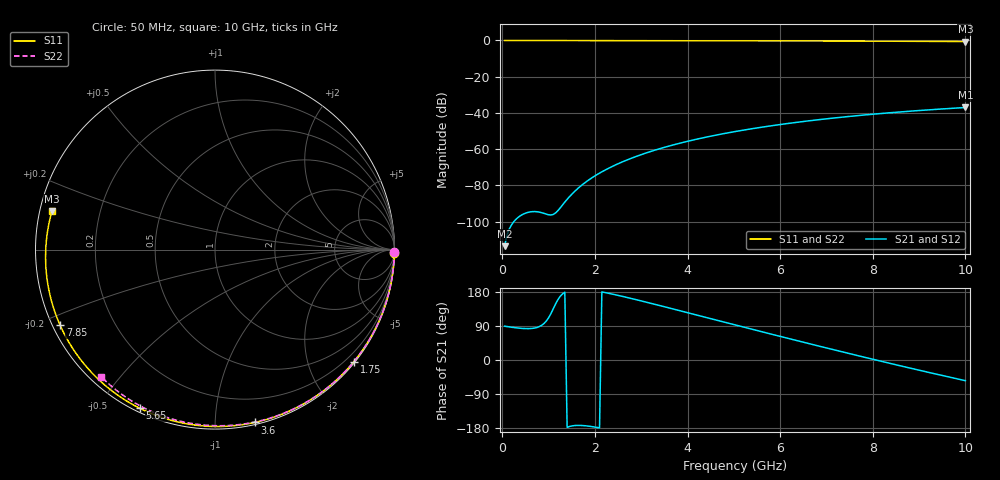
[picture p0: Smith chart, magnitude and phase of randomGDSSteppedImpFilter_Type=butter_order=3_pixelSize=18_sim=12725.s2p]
! freq	dB(S11)	phase(S11)	dB(S12)	phase(S12)
!  dB(S21)	phase(S21)	dB(S22)	phase(S22)
!S-par simulation data
#  GHz  S  DB  R 50
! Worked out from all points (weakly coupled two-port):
!   200 points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, 50 MHz to 10 GHz, reference 50 ohm
!   highest |S21| = -37.00 dB at 10 GHz (marker M1); lowest = -113.5 dB at 50 MHz (marker M2)
!   lowest |S11| = -0.6 dB at 10 GHz (marker M3), VSWR 28.97, Z = 1.75 + j5.79 ohm
!   |S11| at or under -10 dB: nowhere
!   |S22| runs from -0.4 to 0.0 dB; largest |S21 - S12| = 0
!   S11 on the Smith chart (normalised r, x): 50 MHz: open; 1.75 GHz: 0.03, -2.84; 3.6 GHz: 0.02, -1.26; 5.65 GHz: 0.02, -0.63; 7.85 GHz: 0.02, -0.23; 10 GHz: 0.03, +0.12
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0.05  -0.00 -1.1  -113.54 89.2  -113.54 89.2  -0.00 -0.8
0.45  -0.01 -10.1  -95.88 83.2  -95.88 83.2  -0.01 -6.8
0.85  -0.02 -19.1  -95.05 91.5  -95.05 91.5  -0.02 -12.9
1.25  -0.04 -27.9  -92.43 167.8  -92.43 167.8  -0.02 -18.9
1.7  -0.05 -37.8  -80.20 -172.7  -80.20 -172.7  -0.03 -25.6
1.75  -0.05 -38.8  -79.18 -173.1  -79.18 -173.1  -0.03 -26.3
2.05  -0.06 -45.3  -73.97 -178.0  -73.97 -178.0  -0.04 -30.7
2.25  -0.06 -49.5  -71.13 177.2  -71.13 177.2  -0.04 -33.6
2.45  -0.07 -53.7  -68.63 172.0  -68.63 172.0  -0.05 -36.5
2.9  -0.08 -63.0  -63.93 159.0  -63.93 159.0  -0.06 -43.0
3.4  -0.10 -73.1  -59.73 143.7  -59.73 143.7  -0.07 -50.1
3.6  -0.10 -77.1  -58.28 137.5  -58.28 137.5  -0.07 -52.9
4.3  -0.13 -90.6  -53.91 115.5  -53.91 115.5  -0.09 -62.5
5.05  -0.16 -104.6  -50.17 91.9  -50.17 91.9  -0.11 -72.5
5.65  -0.19 -115.4  -47.68 73.1  -47.68 73.1  -0.13 -80.2
6.15  -0.22 -124.3  -45.88 57.7  -45.88 57.7  -0.15 -86.6
6.7  -0.26 -133.9  -44.12 40.9  -44.12 40.9  -0.18 -93.4
7.3  -0.30 -144.4  -42.42 22.8  -42.42 22.8  -0.21 -100.6
7.85  -0.35 -154.0  -41.06 6.4  -41.06 6.4  -0.25 -107.2
8.35  -0.40 -162.8  -39.95 -8.3  -39.95 -8.3  -0.29 -113.0
9.2  -0.50 -178.1  -38.31 -32.5  -38.31 -32.5  -0.36 -122.8
10  -0.60 166.8  -37.00 -54.5  -37.00 -54.5  -0.44 -131.9
